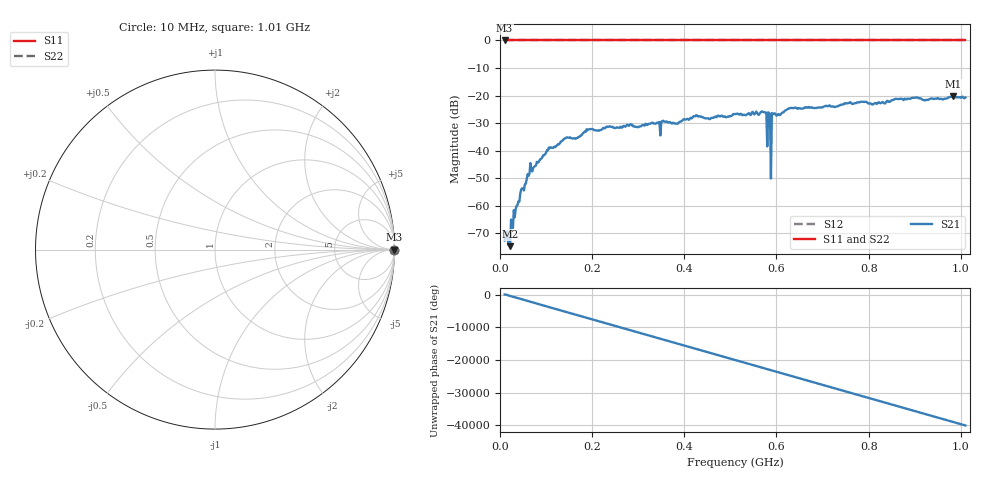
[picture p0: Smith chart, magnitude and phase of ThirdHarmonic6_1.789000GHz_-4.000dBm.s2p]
! 8/16/2025 9:38:06 PM
! C:\ANRITSUVNA\TEMP\TEMP.S2P
! CHANNEL.1
! TR.MEASUREMENT
! RAW.DATA
! RF.CORRECTION.OFF
! AVERAGING.OFF
! IF.BANDWIDTH: 5KHZ
! SWEEPTYPE:  FREQ.SWEEP(Linear)
! Reference Plane Port Info
! PORT:  PORT1  PORT2
! DISTANCE:  0  m  0  m
! TIME:  0  s  0  s
! PHASE.OFFSET:  0  deg.  0  deg.
! LOSS:  0  dB  0  dB
! REF.LOSS:  0  dB  0  dB
! REF.FREQ:  0  Hz  0  Hz
! Power Info
! POWER:  -20  dBm  -20  dBm
! EFF.POWER:  -20  dBm  -20  dBm
! SOURCE.ATTEN:  0  dB  0  dB
! TEST.ATTEN:  0  dB  0  dB
# GHZ S RI R 50.0
! FREQ.GHZ  S11RE  S11IM  S21RE  S21IM  S12RE  S12IM  S22RE  S22IM
!; PortSelection: Port_12
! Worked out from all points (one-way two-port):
!   501 points, 10 MHz to 1.01 GHz, reference 50 ohm
!   highest |S21| = -20.29 dB at 984 MHz (marker M1); lowest = -74.6 dB at 22 MHz (marker M2)
!   lowest |S11| = 0.0 dB at 10 MHz (marker M3)
!   |S11| at or under -10 dB: nowhere
!   |S22| runs from 0.0 to 0.0 dB; largest |S21 - S12| = 1.1
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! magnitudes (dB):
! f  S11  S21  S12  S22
! 10 MHz  0.0  -72.5  0.0  0.0
! 22 MHz  0.0  -74.6  0.0  0.0
! 34 MHz  0.0  -61.2  0.0  0.0
! 64 MHz  0.0  -48.3  0.0  0.0
! 106 MHz  0.0  -38.8  0.0  0.0
! 178 MHz  0.0  -34.1  0.0  0.0
! 234 MHz  0.0  -31.4  0.0  0.0
! 344 MHz  0.0  -30.0  0.0  0.0
! 424 MHz  0.0  -27.5  0.0  0.0
! 452 MHz  0.0  -28.3  0.0  0.0
! 510 MHz  0.0  -26.7  0.0  0.0
! 574 MHz  0.0  -26.0  0.0  0.0
! 576 MHz  0.0  -26.2  0.0  0.0
! 582 MHz  0.0  -26.1  0.0  0.0
! 584 MHz  0.0  -26.3  0.0  0.0
! 586 MHz  0.0  -26.9  0.0  0.0
! 592 MHz  0.0  -26.7  0.0  0.0
! 594 MHz  0.0  -26.7  0.0  0.0
! 678 MHz  0.0  -24.4  0.0  0.0
! 844 MHz  0.0  -22.3  0.0  0.0
! 984 MHz  0.0  -20.3  0.0  0.0
! 1.01 GHz  0.0  -20.7  0.0  0.0
